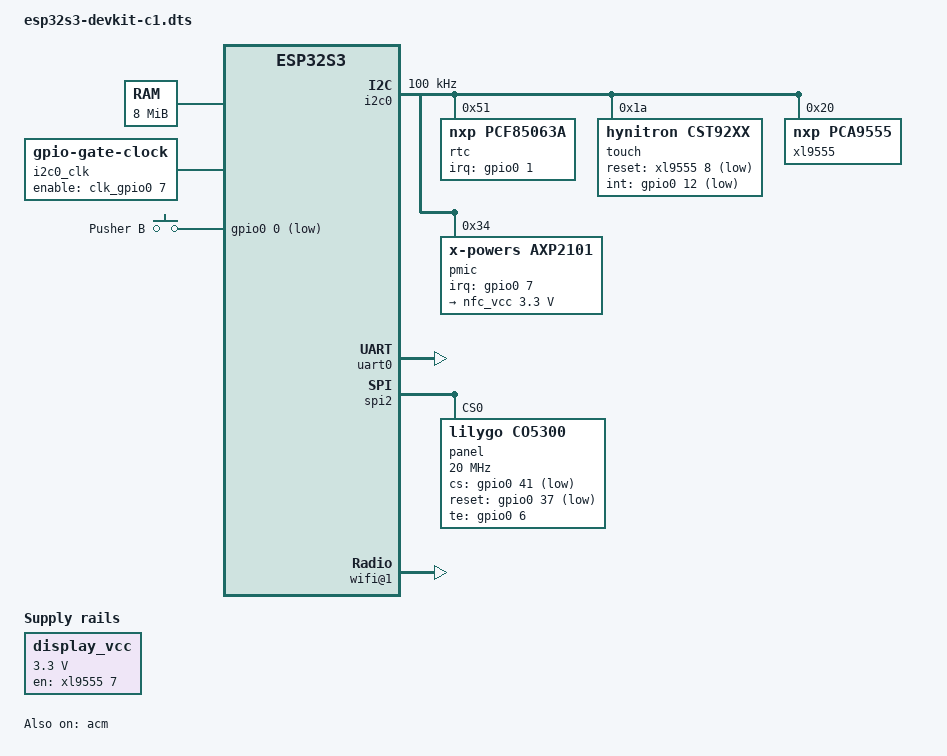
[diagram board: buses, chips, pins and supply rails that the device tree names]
// SPDX-License-Identifier: GPL-2.0-or-later
/dts-v1/;
#include <dt-bindings/gpio/gpio.h>
#include <dt-bindings/interrupt-controller/irq.h>
#include <dt-bindings/input/linux-event-codes.h>
#include "gpio-esp32.h"
#include "esp32s3.dtsi"

/ {
	memory@0 {
		device_type = "memory";
		reg = <0x3d800000 0x00800000>;
	};

	/*
	 * Hardware I2C0 at 0x60013000, not i2c-gpio.
	 *
	 * The bit-banged bus was an interim that cost 34.6 percent of core 1 in
	 * kernel time, because every clock edge is a GPIO toggle taken in
	 * software (KRN-005, docs/cores.md). The controller exists and LilyGo's
	 * own firmware drives this board's pins with it at 1 MHz.
	 *
	 * To go back to the bit-banged bus in a hurry, restore:
	 *	compatible = "i2c-gpio";
	 *	sda-gpios = <&gpio0 3 (GPIO_ACTIVE_HIGH | GPIO_OPEN_DRAIN)>;
	 *	scl-gpios = <&gpio0 2 (GPIO_ACTIVE_HIGH | GPIO_OPEN_DRAIN)>;
	 * and drop reg/interrupts/clock-frequency.
	 */
	/*
	 * I2C_EXT0's clock gate lives in SYSTEM_PERIP_CLK_EN0 (0x600c0018)
	 * bit 7, and its reset default is 0. Nothing had ever enabled it: the
	 * firmware does not use I2C, and the bit-banged bus needed no
	 * peripheral clock. Without it every register write to the controller
	 * is lost, which presents as a peripheral stuck in its reset state
	 * (ctr = 0x20b, master mode clear) while the driver reports success.
	 *
	 * Declared here rather than in esp32s3.dtsi so it travels with the
	 * board file this project carries whole.
	 */
	i2c0_clk: i2c0_clk {
		#clock-cells = <0>;
		compatible = "gpio-gate-clock";
		clocks = <&clk 2>;		/* apb_clk */
		enable-gpios = <&clk_gpio0 7 0>;
	};

	i2c0: i2c@60013000 {
		#address-cells = <1>;
		#size-cells = <0>;
		compatible = "espressif,esp32-i2c";
		reg = <0x60013000 0x100>;
		interrupts = <42 9 0>;	/* I2C_EXT0 source 42, external IRQ9 */
		clock-frequency = <100000>;
		clocks = <&i2c0_clk>;

		/* Pins are routed through the GPIO matrix by the driver, and
		 * their pull-ups and input-enable come from i2c0_pins below.
		 * SPI needs the same treatment: neither bus reaches these pads
		 * through IO_MUX. */
		espressif,sda-pin = <3>;
		espressif,scl-pin = <2>;

		pinctrl-0 = <&i2c0_pins>;
		pinctrl-names = "default";

		rtc@51 {
			compatible = "nxp,pcf85063a";
			reg = <0x51>;
			interrupt-parent = <&gpio0>;
			interrupts = <1 IRQ_TYPE_EDGE_FALLING>;
			wakeup-source;
		};

		/*
		 * Hynitron CST9217 capacitive touch at 0x1A.
		 *
		 * The reset line is not an SoC GPIO: it is P08 of the XL9555
		 * expander, which comes up as an input, so the driver has to
		 * program it as an output before it can reset the part. The
		 * phandle below is what makes the driver wait for the expander to
		 * bind instead of writing to a line nobody is driving.
		 *
		 * Active low: asserting reset drives the line low, exactly as
		 * LilyGo's initTouch() does (low 20 ms, high 60 ms).
		 *
		 * TP_INT is GPIO 12: active low, pulsed when the controller has a
		 * report. LilyGo configures it as INPUT_PULLUP with a FALLING edge
		 * handler, which is what this mirrors -- the pull-up matters, and
		 * it is why the pin is in touch_int_pins below. The handler is
		 * threaded because servicing it reads I2C.
		 */
		touch@1a {
			compatible = "hynitron,cst92xx";
			reg = <0x1a>;
			reset-gpios = <&xl9555 8 GPIO_ACTIVE_LOW>;
			/*
			 * INT is requested as a GPIO and turned into an IRQ with
			 * gpiod_to_irq(), not through interrupt-parent/interrupts.
			 * The pull is set here rather than inherited.
			 */
			int-gpios = <&gpio0 12 GPIO_ACTIVE_LOW>;
			pinctrl-0 = <&touch_int_pins>;
			pinctrl-names = "default";
			/*
			 * Idle poll, deliberately far longer than any plausible
			 * report interval.
			 *
			 * The controller self-reports about every 66 ms while a
			 * finger is down and asserts INT for each report, so while
			 * idle this timer should never be what discovers a touch --
			 * the interrupt is. 5000 ms is chosen to make that
			 * unambiguous: with values like 250 ms a broken interrupt
			 * still looks like working touch that is merely a bit
			 * sluggish, which is exactly the class of bug that hid for
			 * a session behind the full interrupt table. At 5 s a dead
			 * interrupt is not subtle -- a tap would take seconds to
			 * register -- while a working one still responds in about
			 * one report period.
			 *
			 * It is not removed entirely: this is the safety net that
			 * keeps touch from disappearing completely if the line ever
			 * stops asserting. A slow tap is recoverable, a dead screen
			 * is not. See TCH-010.
			 */
			hynitron,idle-poll-ms = <5000>;
		};

		/* XL9555: 16-bit GPIO expander, a PCA9555 clone at 0x20.
		 * Linear pin mapping: P00..P07 = gpio 0..7, P10..P17 = 8..15.
		 * It gates the display rail (P07), haptic enable (P06) and
		 * holds the touch controller out of reset (P08). No interrupt
		 * line on this board, so it is written only.
		 */
		xl9555: gpio@20 {
			compatible = "nxp,pca9555";
			reg = <0x20>;
			gpio-controller;
			#gpio-cells = <2>;

			/*
			 * P05 enables the radio module (LoRa / SX1262). It comes up
			 * as an input, and nothing else in the tree drives it, so
			 * the radio has never been powered while the SPI probe ran.
			 * Hog it high so the part is alive before SPI is tested.
			 */
			lora-enable-hog {
				gpio-hog;
				gpios = <5 GPIO_ACTIVE_HIGH>;
				output-high;
				line-name = "lora-enable";
			};
		};

		/* X-Powers AXP2101 PMU: battery, charging, and the power rails.
		 *
		 * The interrupt works and is wired: GPIO 7, active low, level
		 * triggered. A tap of Pusher A (the power key, which is not a GPIO
		 * and reaches Linux only through axp20x-pek) delivers press and
		 * release as separate sub-IRQs -- verified 2026-11-10, see PMU-004.
		 *
		 * This comment previously claimed "no interrupt" and warned that a
		 * LEVEL_LOW IRQ on GPIO 7 "storms and hangs the boot", which
		 * contradicted the node below it and is now known to be wrong for
		 * this configuration: the pin is held up by the weak pull-up in
		 * pmic_irq_pins, and with the interrupt connected the kernel boots
		 * and services presses normally. The warning is removed rather than
		 * left in place, because a comment that tells the next reader a
		 * working thing is dangerous is worse than no comment at all.
		 *
		 * What is genuinely absent, and unrelated to the interrupt: there is
		 * no wake-from-sleep path, which is a deferred item, not a defect
		 * here.
		 */
		pmic@34 {
			compatible = "x-powers,axp2101";
			reg = <0x34>;
			pinctrl-0 = <&pmic_irq_pins>;
			pinctrl-names = "default";
			interrupt-parent = <&gpio0>;
			interrupts = <7 IRQ_TYPE_LEVEL_LOW>;
			interrupt-controller;
			#interrupt-cells = <1>;

			battery {
				compatible = "x-powers,axp2101-battery-power-supply";
			};

			usb_power: usb-power {
				compatible = "x-powers,axp2101-usb-power-supply";
			};

			/*
			 * Only DLDO1 is listed. Everything else in the PMU stays at
			 * its own default, which is how the board has worked so far.
			 *
			 * DLDO1 powers the ST25R3916 NFC reader. It comes up off, and
			 * the evidence is unambiguous: MISO (GPIO33) reads 0 even
			 * with its internal pull-up enabled, so something external is
			 * holding the line low -- an unpowered chip does exactly that
			 * through its ESD diodes. The bus and pin routing are
			 * therefore fine; the peripheral simply has no supply.
			 */
			regulators {
				nfc_vcc: dldo1 {
					regulator-name = "dldo1";
					regulator-min-microvolt = <3300000>;
					regulator-max-microvolt = <3300000>;
					regulator-always-on;
					regulator-boot-on;
				};
			};
		};
	};

	/*
	 * Display power, as a switchable regulator on the expander.
	 *
	 * The panel rail is enabled by XL9555 P07 and nothing else. There is no
	 * CO5300 driver yet, but modelling the enable here is what makes the
	 * kernel ASSERT it. Without it the pin keeps whatever state the
	 * previous firmware left: harmless across a warm reset, wrong on a
	 * cold boot, where the PCA9555 powers up all-inputs and the AMOLED
	 * stays dark.
	 *
	 * gpio 7 on the expander is P07 (linear numbering: P00..P07 = 0..7,
	 * P10..P17 = 8..15).
	 */
	/*
	 * The side buttons, named by position rather than by what LilyGo call
	 * them. "BOOT" describes what GPIO0 does during reset, not what the
	 * button is; the user presses it while wearing the watch.
	 *
	 * Pusher A is the top-left button. It is not a GPIO: it is the AXP2101
	 * power key, so it arrives through axp20x-pek (see the pmic node).
	 * Pusher B is the bottom-left button, GPIO0, active low.
	 * The recessed button by the USB port is the SoC's chip-enable and is
	 * not visible to software at all.
	 */
	gpio-keys {
		/* polled, not interrupt: the esp32 GPIO driver returns -ENXIO
		 * from gpiod_to_irq() for GPIO 0 (interrupts on pins 1 and 7
		 * work, so the irq domain itself is fine). Polling at 50 ms is
		 * what the ESP-IDF firmware does anyway.
		 */
		compatible = "gpio-keys-polled";
		pinctrl-0 = <&pusher_b_pins>;
		pinctrl-names = "default";
		poll-interval = <50>;
		autorepeat;

		pusher-b {
			label = "Pusher B";
			gpios = <&gpio0 0 GPIO_ACTIVE_LOW>;
			linux,code = <KEY_ENTER>;
		};
	};

	display_vcc: regulator-display {
		compatible = "regulator-fixed";
		regulator-name = "display";
		regulator-min-microvolt = <3300000>;
		regulator-max-microvolt = <3300000>;
		enable-active-high;
		gpio = <&xl9555 7 GPIO_ACTIVE_HIGH>;
		regulator-always-on;
		regulator-boot-on;
	};
};

&iomux {
	status = "ok";

	i2c0_pins: i2c0_pins {
		pinctrl-single,pins = <
			PIN(3) FUN0_20MA_IE_WPU			/* SDA */
			PIN(2) FUN0_20MA_IE_WPU>;		/* SCL */
	};
	pusher_b_pins: pusher_b_pins {
		pinctrl-single,pins = <
			PIN(0) FUN0_20MA_IE_WPU>;		/* Pusher B, active low */
	};
	pmic_irq_pins: pmic_irq_pins {
		pinctrl-single,pins = <
			PIN(7) FUN0_20MA_IE_WPU>;		/* AXP2101 IRQ, open drain */
	};
	/* TP_INT, GPIO 12. LilyGo sets INPUT_PULLUP before attaching the
	 * falling-edge handler, so the weak pull-up is part of the contract and
	 * not a default worth inheriting: without it the line floats and the
	 * edge either never comes or comes continuously.
	 */
	touch_int_pins: touch_int_pins {
		pinctrl-single,pins = <
			PIN(12) FUN0_20MA_IE_WPU>;	/* CST9217 INT, active low */
	};
	/* The watch's panel is on SPI2 with its own pin set: SCK 40, data
	 * D0..D3 on 38, 39, 42, 45. FUN_SEL(4) is the SPI2 function. CS is a
	 * plain GPIO (41) driven by the panel driver, not a peripheral CS.
	 */
	spi2_pins: spi2_pins {
		pinctrl-single,pins = <
			PIN(40) (FUN_SEL(4) | FUN_DRV_20MA)	/* SCK */
			PIN(38) (FUN_SEL(4) | FUN_DRV_20MA)	/* D0 */
			PIN(39) (FUN_SEL(4) | FUN_DRV_20MA)	/* D1 */
			PIN(42) (FUN_SEL(4) | FUN_DRV_20MA)	/* D2 */
			PIN(45) (FUN_SEL(4) | FUN_DRV_20MA)>;	/* D3 */
	};
	uart0_pins: uart0_pins {
		pinctrl-single,pins = <
			PIN(43) FUN0_20MA			/* U0TXD */
			PIN(44) FUN0_20MA_IE_WPU>;		/* U0RXD */
	};
};

&gpio0 {
	status = "ok";
};

&uart0 {
	pinctrl-0 = <&uart0_pins>;
	pinctrl-names = "default";
	status = "ok";
};

/* SPI2 carries the panel. The controller does bind esp32-spi now: the command,
 * address and data phases are expressed as a spi_mem_op, which spi_transfer
 * cannot describe.
 */
&spi2 {
	status = "okay";

	/*
	 * SPI2 is what the working ESP-IDF firmware uses for this panel, and its
	 * peripheral is the one those register dumps came from. Its IO_MUX pins
	 * are GPIO 9..14, so the panel's 38..45 have to be routed through the
	 * GPIO matrix -- which is why the pin numbers live here and esp32-spi
	 * does the routing itself. (The devkit profile's spi2_pins node muxed
	 * these pads to FUN_SEL(4), which is not an SPI alternate on them.)
	 */
	espressif,clk-pin = <40>;
	espressif,d0-pin = <38>;
	espressif,d1-pin = <39>;
	espressif,d2-pin = <42>;
	espressif,d3-pin = <45>;

	panel@0 {
		compatible = "lilygo,co5300";
		reg = <0>;
		spi-max-frequency = <20000000>;
		/*
		 * Quad data. These two properties are what make the SPI core set
		 * SPI_TX_QUAD in spi->mode, which spi_mem_check_op then requires
		 * before it will accept a 4-lane phase. Without them a quad op is
		 * rejected with -EOPNOTSUPP before it reaches the controller.
		 */
		spi-tx-bus-width = <4>;
		spi-rx-bus-width = <4>;

		/*
		 * CS is deliberately NOT "cs-gpios".
		 *
		 * spi_mem_exec_op() only calls the controller's ->exec_op when the
		 * device has no chip-select GPIO:
		 *
		 *   if (ctlr->mem_ops && ctlr->mem_ops->exec_op &&
		 *       !spi_get_csgpiod(mem->spi, 0))
		 *
		 * With cs-gpios present it silently falls back to building
		 * spi_transfers, which esp32-spi forces to single-bit -- so the
		 * quad path never ran. A different property name keeps CS under
		 * this driver's control without triggering that fallback, which
		 * is the same arrangement LilyGo use (spics_io_num = -1).
		 */
		lilygo,cs-gpios = <&gpio0 41 GPIO_ACTIVE_LOW>;
		reset-gpios = <&gpio0 37 GPIO_ACTIVE_LOW>;
		te-gpios = <&gpio0 6 GPIO_ACTIVE_HIGH>;
	};
};



&spi3 {
	status = "disabled";
};

/ {
	spi_probe: spi-probe {
		compatible = "escapement,spi-probe";
		status = "disabled";
		/* NFC supply: DLDO1. Named here so the probe can assert it
		 * explicitly instead of assuming the PMU left it on. */
		vdd-supply = <&nfc_vcc>;
	};

};

&acm {
	status = "ok";
};

&ipc {
	wifi@1 {
		compatible = "esp,esp32-wifi-shmem";
		reg = <1>;
	};
};

&intc {
	reg = <0x600c2800 0x800>;
};
